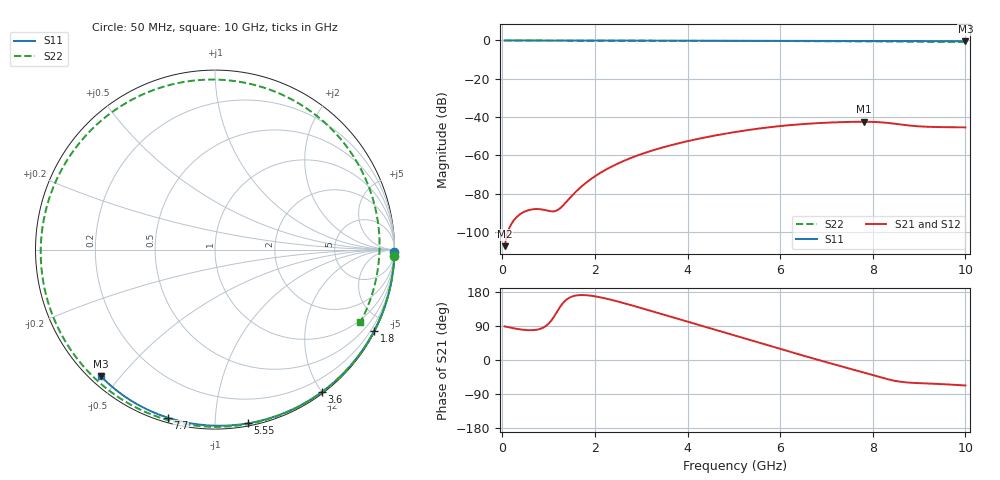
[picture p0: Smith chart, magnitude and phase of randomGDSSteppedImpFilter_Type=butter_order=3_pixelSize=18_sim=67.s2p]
! freq	dB(S11)	phase(S11)	dB(S12)	phase(S12)
!  dB(S21)	phase(S21)	dB(S22)	phase(S22)
!S-par simulation data
#  GHz  S  DB  R 50
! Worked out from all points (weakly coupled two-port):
!   200 points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, 50 MHz to 10 GHz, reference 50 ohm
!   highest |S21| = -42.45 dB at 7.8 GHz (marker M1); lowest = -107.4 dB at 50 MHz (marker M2)
!   lowest |S11| = -0.4 dB at 10 GHz (marker M3), VSWR 38.62, Z = 1.55 - j22.1 ohm
!   |S11| at or under -10 dB: nowhere
!   |S22| runs from -0.9 to 0.0 dB; largest |S21 - S12| = 0
!   S11 on the Smith chart (normalised r, x): 50 MHz: open; 1.8 GHz: 0.04, -4.14; 3.6 GHz: 0.02, -2.00; 5.55 GHz: 0.02, -1.21; 7.7 GHz: 0.02, -0.76; 10 GHz: 0.03, -0.44
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0.05  -0.00 -0.8  -107.43 88.8  -107.43 88.8  -0.00 -1.9
0.75  -0.01 -11.4  -88.03 80.1  -88.03 80.1  -0.03 -28.1
1.55  -0.03 -23.4  -79.92 169.1  -79.92 169.1  -0.07 -57.1
1.75  -0.03 -26.4  -75.45 171.4  -75.45 171.4  -0.08 -64.0
1.8  -0.03 -27.1  -74.46 171.1  -74.46 171.1  -0.08 -65.8
2.1  -0.04 -31.6  -69.40 165.8  -69.40 165.8  -0.09 -76.0
2.5  -0.05 -37.4  -64.23 154.2  -64.23 154.2  -0.11 -89.4
3.4  -0.07 -50.2  -56.31 122.8  -56.31 122.8  -0.14 -118.1
3.6  -0.07 -53.0  -54.97 115.6  -54.97 115.6  -0.15 -124.3
4.35  -0.09 -63.4  -50.79 88.9  -50.79 88.9  -0.19 -147.3
5.05  -0.11 -72.7  -47.74 63.9  -47.74 63.9  -0.23 -168.9
5.55  -0.13 -79.2  -45.98 45.8  -45.98 45.8  -0.27 175.2
6.15  -0.15 -86.8  -44.35 24.0  -44.35 24.0  -0.31 155.1
6.7  -0.18 -93.6  -43.33 4.5  -43.33 4.5  -0.36 135.1
7.25  -0.21 -100.3  -42.71 -14.2  -42.71 -14.2  -0.41 113.3
7.7  -0.24 -105.7  -42.46 -29.4  -42.46 -29.4  -0.46 93.8
7.8  -0.25 -106.9  -42.45 -32.9  -42.45 -32.9  -0.47 89.2
8.35  -0.29 -113.3  -43.13 -51.6  -43.13 -51.6  -0.54 62.6
8.8  -0.33 -118.5  -44.45 -59.9  -44.45 -59.9  -0.61 39.1
9.2  -0.36 -123.1  -45.10 -62.0  -45.10 -62.0  -0.69 17.3
9.6  -0.40 -127.7  -45.30 -64.3  -45.30 -64.3  -0.77 -4.8
10  -0.45 -132.2  -45.38 -67.3  -45.38 -67.3  -0.86 -26.6
